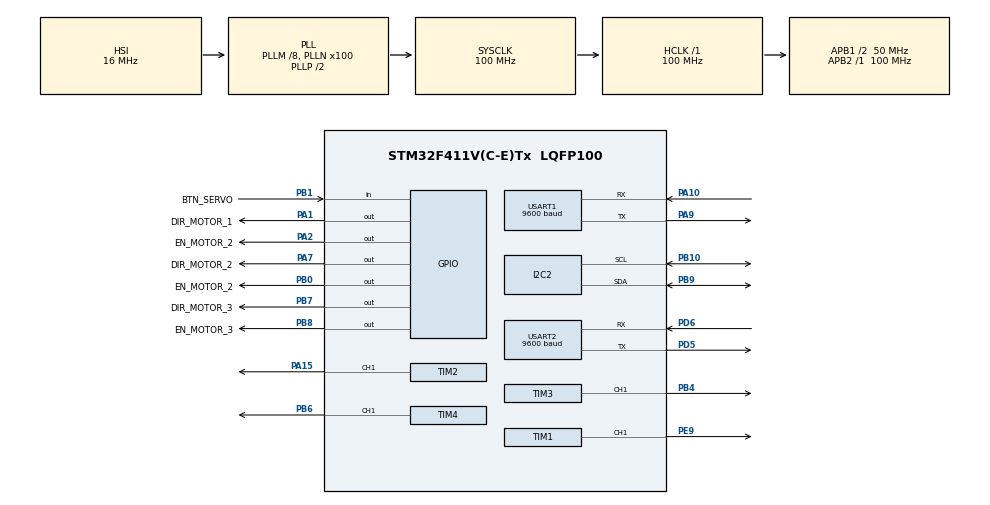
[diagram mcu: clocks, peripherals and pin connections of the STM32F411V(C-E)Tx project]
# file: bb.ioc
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Mcu.Family=STM32F4
Mcu.Name=STM32F411V(C-E)Tx
Mcu.Package=LQFP100
NVIC.PriorityGroup=NVIC_PRIORITYGROUP_4
PA1.GPIO_Label=DIR_MOTOR_1 
PA1.Signal=GPIO_Output
PA10.Mode=Asynchronous
PA10.Signal=USART1_RX
PA13.Mode=Serial_Wire
PA13.Signal=SYS_JTMS-SWDIO
PA14.Mode=Serial_Wire
PA14.Signal=SYS_JTCK-SWCLK
PA15.Signal=S_TIM2_CH1_ETR
PA2.GPIO_Label=EN_MOTOR_2
PA2.GPIO_Speed=GPIO_SPEED_FREQ_HIGH
PA2.Signal=GPIO_Output
PA7.GPIO_Label=DIR_MOTOR_2
PA7.Signal=GPIO_Output
PA9.Mode=Asynchronous
PA9.Signal=USART1_TX
PB0.GPIO_Label=EN_MOTOR_2
PB0.GPIO_Speed=GPIO_SPEED_FREQ_HIGH
PB0.Signal=GPIO_Output
PB1.GPIO_Label=BTN_SERVO
PB1.GPIO_PuPd=GPIO_PULLUP
PB1.Signal=GPIO_Input
PB10.Mode=I2C
PB10.Signal=I2C2_SCL
PB4.Signal=S_TIM3_CH1
PB6.Signal=S_TIM4_CH1
PB7.GPIO_Label=DIR_MOTOR_3
PB7.Signal=GPIO_Output
PB8.GPIO_Label=EN_MOTOR_3
PB8.GPIO_Speed=GPIO_SPEED_FREQ_HIGH
PB8.Signal=GPIO_Output
PB9.Mode=I2C
PB9.Signal=I2C2_SDA
PD5.Mode=Asynchronous
PD5.Signal=USART2_TX
PD6.Mode=Asynchronous
PD6.Signal=USART2_RX
PE5.Signal=S_TIM9_CH1
PE9.Signal=S_TIM1_CH1
ProjectManager.HeapSize=0x200
ProjectManager.StackSize=0x400
ProjectManager.TargetToolchain=STM32CubeIDE
RCC.48MHZClocksFreq_Value=50000000
RCC.AHBFreq_Value=100000000
RCC.APB1CLKDivider=RCC_HCLK_DIV2
RCC.APB1Freq_Value=50000000
RCC.APB1TimFreq_Value=100000000
RCC.APB2Freq_Value=100000000
RCC.APB2TimFreq_Value=100000000
RCC.CortexFreq_Value=100000000
RCC.HCLKFreq_Value=100000000
RCC.HSE_VALUE=25000000
RCC.HSI_VALUE=16000000
RCC.LSE_VALUE=32768
RCC.PLLM=8
RCC.PLLN=100
RCC.SYSCLKFreq_VALUE=100000000
RCC.SYSCLKSource=RCC_SYSCLKSOURCE_PLLCLK
RCC.VCOOutputFreq_Value=200000000
SH.S_TIM1_CH1.0=TIM1_CH1,PWM Generation1 CH1
SH.S_TIM2_CH1_ETR.0=TIM2_CH1,PWM Generation1 CH1
SH.S_TIM3_CH1.0=TIM3_CH1,PWM Generation1 CH1
SH.S_TIM4_CH1.0=TIM4_CH1,PWM Generation1 CH1
SH.S_TIM9_CH1.0=TIM9_CH1
TIM1.Channel-PWM\ Generation1\ CH1=TIM_CHANNEL_1
TIM1.Period=999
TIM1.Prescaler=99
TIM1.Pulse-PWM\ Generation1\ CH1=500
TIM2.Channel-PWM\ Generation1\ CH1=TIM_CHANNEL_1
TIM2.Period=999
TIM2.Prescaler=99
TIM2.Pulse-PWM\ Generation1\ CH1=500
TIM3.Channel-PWM\ Generation1\ CH1=TIM_CHANNEL_1
TIM3.Period=999
TIM3.Prescaler=99
TIM4.Channel-PWM\ Generation1\ CH1=TIM_CHANNEL_1
TIM4.Period=999
TIM4.Prescaler=99
TIM4.Pulse-PWM\ Generation1\ CH1=500
USART1.BaudRate=9600
USART1.VirtualMode=VM_ASYNC
USART2.BaudRate=9600
USART2.VirtualMode=VM_ASYNC
VP_TIM1_VS_ClockSourceINT.Mode=Internal
VP_TIM2_VS_ClockSourceINT.Mode=Internal
VP_TIM3_VS_ClockSourceINT.Mode=Internal
VP_TIM4_VS_ClockSourceINT.Mode=Internal
board=custom

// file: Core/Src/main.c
/* USER CODE BEGIN Header */
/**
  ******************************************************************************
  * @file           : main.c
  * @brief          : Main program body
  ******************************************************************************
  * @attention
  *
  * Copyright (c) 2026 STMicroelectronics.
  * All rights reserved.
  *
  * This software is licensed under terms that can be found in the LICENSE file
  * in the root directory of this software component.
  * If no LICENSE file comes with this software, it is provided AS-IS.
  *
  ******************************************************************************
  */
/* USER CODE END Header */
#include "main.h"

/* USER CODE BEGIN Includes */
#include "stdio.h"    /* ← thêm: fix lỗi sscanf */
#include "stdlib.h"
#include "math.h"
#include "string.h"
/* USER CODE END Includes */

/* USER CODE BEGIN PD */
typedef struct {
    float Kp, Ki, Kd;
    float integral;
    float prev_error;
    float integral_limit;  // chống integral windup
    float output_limit;    // giới hạn output tối đa
} PID_t;

// Kalman Test
typedef struct {
    float kalmanExtrapolate;
	  float kalmanEstimation;
	  float kalmanUncertainty_currFlex;
	  float kalmanUncertainty_exFlex;
} KalmanParam;
KalmanParam angle1;
KalmanParam angle2;
KalmanParam angle3;

PID_t pid1 = {
    .Kp = 500.0f,    // Tăng để phản ứng nhanh hơn
    .Ki = 15.0f,      // Nhỏ thôi, tránh dao động
    .Kd = 100.0f,     // Hãm phanh khi gần đích
    .integral = 0,
    .prev_error = 0,
    .integral_limit = 300.0f,
    .output_limit = 25000.0f
};

PID_t pid2 = {
//    .Kp = 800.0f,
//    .Ki = 50.0f,
//    .Kd = 50.0f,
	.Kp = 800.0f,
    .Ki = 50.0f,
    .Kd = 55.0f,
    .integral = 0,
    .prev_error = 0,
    .integral_limit = 3000.0f,
    .output_limit = 90000.0f
};

PID_t pid3 = {
		//    .Kp = 400.0f,
		//    .Ki = 3.0f,
		//    .Kd = 30.0f,
    .Kp = 400.0f,
    .Ki = 3.0f,
    .Kd = 35.0f,
    .integral = 0,
    .prev_error = 0,
    .integral_limit = 100.0f,
    .output_limit = 25000.0f
};
#define TCA9548A_ADDR     (0x70 << 1)
#define AS5600_ADDR       (0x36 << 1)
#define AS5600_RAW_ANGLE_REG  0x0C

#define MUX_CH_J1   0
#define MUX_CH_J2   1
#define MUX_CH_J3   2
#define GEAR_RATIO_J1   9.375f
#define GEAR_RATIO_J2   9.375f
#define ANGLE_MAX_J3  300.0f
#define HOOK_OPEN    180.0f
#define HOOK_CLOSE   0.0f

#define L0  108.0f   // ← THÊM
#define L1  220.0f   // ← THÊM
#define L2  235.0f   // ← THÊM
#define J2_ZERO_OFFSET   5.0f
#define VEL_PROFILE_J1  60.0f   // J1: 60°/s
#define VEL_PROFILE_J2  60.0f   // J2: 60°/s
#define VEL_PROFILE_J3  30.0f   // J3: chậm hơn, motor yếu
#define LOOP_DT         0.05f
#define PROCESS_NOISE   0.20f
#define MEAS_UNCERTAINTY (2.0 * 2.0)
/* USER CODE END PD */

I2C_HandleTypeDef hi2c2;

TIM_HandleTypeDef htim1;
TIM_HandleTypeDef htim2;
TIM_HandleTypeDef htim3;
TIM_HandleTypeDef htim4;

UART_HandleTypeDef huart1;
UART_HandleTypeDef huart2;

/* USER CODE BEGIN PV */
//volatile float servo_target_angle = 90.0f;
volatile uint16_t debug_as5600_raw1 = 0;
volatile uint16_t debug_as5600_raw2 = 0;
volatile uint16_t debug_as5600_raw3 = 0;
volatile uint8_t  debug_as5600_status1 = 0;
volatile uint8_t  debug_as5600_status2 = 0;
volatile uint8_t  debug_as5600_status3 = 0;
float as5600_zero_offset1 = 0.0f;
float as5600_zero_offset2 = 0.0f;
float as5600_zero_offset3 = 0.0f;
uint8_t as5600_invert1 = 0; // 1 nếu chiều quay ngược so với chiều bạn cần
uint8_t as5600_invert2 = 0;
uint8_t as5600_invert3 = 0;

volatile uint8_t home_button_pressed = 0;
volatile uint8_t home_done = 0;              // 0 = chưa home, 1 = đã home
volatile uint8_t control_enabled = 0;        // 0 = không nhận data, 1 = nhận data
volatile uint8_t home_requested = 0;         // 0 = không cần home, 1 = yêu cầu home

volatile float home_angle1 = 38.7f;          // Home position J1
volatile float home_angle2 = 47.5f;          // Home position J2
volatile float home_angle3 = 147.5f;         // Home position J3

#define HOMING_TIMEOUT_MS 30000
float target_smooth1 = 0.0f;  // ← THÊM
float target_smooth2 = 0.0f;  // ← THÊM
float target_smooth3 = 0.0f;  // ← THÊM
float filtered_j1 = 0.0f;     // ← THÊM
float filtered_j2 = 0.0f;     // ← THÊM
float filtered_j3 = 0.0f;     // ← THÊM
uint8_t uart2_rx_byte;
uint8_t uart2_buf[32];
uint8_t uart2_index = 0;
uint8_t uart6_rx_byte;
uint8_t uart6_buf[32];
uint8_t uart6_index = 0;
volatile uint8_t uart_mode = 1;
volatile float watch_joint1_real = 0.0f;  // góc thực J1 sau gear ratio
volatile float watch_joint2_real = 0.0f;
volatile float watch_joint3_real = 0.0f;
volatile float watch_angle1 = 0.0f;
volatile float watch_angle2 = 0.0f;
volatile int32_t debug_err1 = 0;
volatile uint8_t debug_dir1 = 0;
volatile int32_t debug_err3 = 0;
volatile uint8_t debug_dir3 = 0;
volatile int32_t debug_err2 = 0;
volatile uint8_t debug_dir2 = 0;
volatile uint8_t btn_servo_last = 1;
volatile uint8_t servo_open     = 0;
volatile uint32_t uart_irq_count = 0;
uint8_t uart_rx_byte;
uint8_t uart_buf[32];
uint8_t uart_index = 0;

volatile float uart_angle1 = 0;
volatile float uart_angle2 = 0;
volatile float uart_angle3 = 0;
volatile uint8_t uart_data_ready = 0;
volatile uint8_t button_val = 0;
  // 0=bình thường, 1=về home
volatile uint8_t is_homing = 0;       // 0=không homing, 1=đang homing
#define  FILTER_SIZE 8   // Lấy trung bình 8 mẫu

volatile float angle_current1 = 0;
volatile float angle_current2 = 0;
volatile float angle_current3 = 0;
volatile int32_t pos1 = 0, pos2 = 0, pos3 = 0;

#define STEPS_PER_REV   1600
#define MAX_SPEED        8000
#define MIN_SPEED        50
#define ACCEL_STEP       200
volatile uint8_t hook_state = 0;  // 0=đóng, 1=mở
typedef struct { float x, y, z; } Position3D_t;
volatile Position3D_t tool_pos = {0, 0, 0};
typedef struct {
    int32_t  target_speed;
    int32_t  current_speed;
    uint8_t  direction;
		int32_t  max_speed;    // ← Thêm
    int32_t  accel_step;   // ← Thêm
} MotorState_t;

MotorState_t state1 = {0, 0, 0, 1000, 50};
MotorState_t state2 = {0, 0, 0, 1000, 50};
MotorState_t state3 = {0, 0, 0, 3000 , 50 };
typedef struct {
    TIM_HandleTypeDef *htim;
    uint32_t channel;
    GPIO_TypeDef *dir_port;
    uint16_t dir_pin;
    GPIO_TypeDef *en_port;
    uint16_t en_pin;
    uint16_t current_speed;
    uint8_t direction;
} StepperMotor_t;

StepperMotor_t motor1 = {
    .htim = &htim4,
    .channel = TIM_CHANNEL_1,
    .dir_port = GPIOA,
    .dir_pin = GPIO_PIN_1,
    .en_port = GPIOA,
    .en_pin = GPIO_PIN_2,
    .current_speed = 0,
    .direction = 0
};
StepperMotor_t motor2 = {
    .htim = &htim3,
    .channel = TIM_CHANNEL_1,
    .dir_port = GPIOA,
    .dir_pin = GPIO_PIN_7,
    .en_port = GPIOB,
    .en_pin = GPIO_PIN_0,
    .current_speed = 0,
    .direction = 0
};
StepperMotor_t motor3 = {
    .htim = &htim1,
    .channel = TIM_CHANNEL_1,
    .dir_port = GPIOB,
    .dir_pin = GPIO_PIN_7,
    .en_port = GPIOB,
    .en_pin = GPIO_PIN_8,
    .current_speed = 0,
    .direction = 0
};
/* USER CODE END PV */

void SystemClock_Config(void);
static void MX_GPIO_Init(void);
static void MX_TIM1_Init(void);
static void MX_TIM2_Init(void);
static void MX_TIM3_Init(void);
static void MX_USART1_UART_Init(void);
static void MX_TIM4_Init(void);
static void MX_USART2_UART_Init(void);
static void MX_I2C2_Init(void);
/* USER CODE BEGIN PFP */
void Slave_Feedback_Read(void);
HAL_StatusTypeDef kp(uint8_t channel);
HAL_StatusTypeDef AS5600_ReadRawAngle(uint16_t *raw_angle);
float AS5600_ReadAngleDeg(uint8_t mux_channel, float zero_offset, uint8_t invert, volatile uint16_t *out_raw, volatile uint8_t *out_status);
//void Servo_TIM9_SetAngle(float angle);  // ← THÊM
void Button_Servo_Handle(void);
void Servo_DebugControl(void);// ← THÊM
void Parse_UART_Data(char *buf);
void Go_Home(void);
uint8_t Is_At_Home(void);
void Process_ADC_Data(void);
void ADC_Filter_Update(void);
void Motor_MoveToAngle(StepperMotor_t *motor, MotorState_t *state, volatile int32_t *pos, float target_angle);
void Motor_Init(StepperMotor_t *motor);
void Motor_SetSpeed(StepperMotor_t *motor, uint16_t speed);
void Motor_SetDirection(StepperMotor_t *motor, uint8_t dir);
void Motor_Enable(StepperMotor_t *motor);
void Motor_Disable(StepperMotor_t *motor);
//float ADC_ToAngle(uint16_t adc_val);
void Motor_SetSpeedSmooth(StepperMotor_t *motor, MotorState_t *state, int32_t target_steps_per_sec);
void Servo_SetAngle(float angle);
void Hook_Control(uint8_t state);
Position3D_t Forward_Kinematics(float t1, float t2, float t3); // ← THÊM
/* USER CODE END PFP */

int main(void)
{

  /* MCU Configuration--------------------------------------------------------*/

  /* Reset of all peripherals, Initializes the Flash interface and the Systick. */
  HAL_Init();

  /* Configure the system clock */
  SystemClock_Config();

  /* Initialize all configured peripherals */
  MX_GPIO_Init();
  MX_TIM1_Init();
  MX_TIM2_Init();
  MX_TIM3_Init();
  MX_USART1_UART_Init();
  MX_TIM4_Init();
  MX_USART2_UART_Init();
  MX_I2C2_Init();
  /* USER CODE BEGIN 2 */

	__HAL_RCC_GPIOD_CLK_ENABLE();
GPIOD->MODER |= (1 << 26);
GPIOD->MODER |= (1 << 24);
pos1 = 0; pos2 = 0; pos3 = 0;

HAL_GPIO_WritePin(GPIOB, GPIO_PIN_8, GPIO_PIN_SET);
HAL_GPIO_WritePin(GPIOB, GPIO_PIN_0, GPIO_PIN_SET);
HAL_GPIO_WritePin(GPIOA, GPIO_PIN_2, GPIO_PIN_SET);

// Không start TIM motor ở đây — Motor_Init tự lo
Motor_Init(&motor1);   // TIM4 CH1 → PB6
Motor_Init(&motor2);   // TIM3 CH1 → PB4
Motor_Init(&motor3);   // TIM1 CH1 → PE9

// Servo TIM9 start riêng
//HAL_TIM_PWM_Start(&htim9, TIM_CHANNEL_1);
//Servo_TIM9_SetAngle(0.0f);

HAL_UART_Receive_IT(&huart1, &uart_rx_byte, 1);
HAL_UART_Receive_IT(&huart2, &uart2_rx_byte, 1);  // ← đổi uart_rx_byte → uart2_rx_byte

  /* USER CODE END 2 */

  /* Infinite loop */
  /* USER CODE BEGIN WHILE */
	button_val = HAL_GPIO_ReadPin(GPIOA, GPIO_PIN_0);
  while (1)
  {
//		Servo_DebugControl();
//		Servo_TIM9_SetAngle(servo_target_angle);
    /* USER CODE END WHILE */

    /* USER CODE BEGIN 3 */
		if(HAL_GPIO_ReadPin(GPIOB, GPIO_PIN_1) == GPIO_PIN_RESET)
{
    HAL_GPIO_WritePin(GPIOD, GPIO_PIN_12, GPIO_PIN_SET);  // LED sáng khi nhấn
}
else
{
    HAL_GPIO_WritePin(GPIOD, GPIO_PIN_12, GPIO_PIN_RESET); // LED tắt khi nhả
}
		 GPIOD->ODR ^= (1 << 13);
    // Đọc nút HOME
    uint8_t btn_home_now = HAL_GPIO_ReadPin(GPIOA, GPIO_PIN_0);
    if(home_button_pressed == 0 && btn_home_now == GPIO_PIN_RESET)
    {
        HAL_Delay(20);
        if(HAL_GPIO_ReadPin(GPIOA, GPIO_PIN_0) == GPIO_PIN_RESET)
        {
            home_button_pressed = 1;
        uart_mode = !uart_mode;
        if(uart_mode == 0)
            home_requested = 1;  // ← HOME mode
        else
            home_requested = 0; // ← Toggle uart_mode: 0↔1
        }
    }
    if(btn_home_now == GPIO_PIN_SET)
    {
        home_button_pressed = 0;  // ← Reset khi nhả nút
    }
 //Button_Servo_Handle();

  Slave_Feedback_Read();   // ← ra ngoài, luôn chạy
HAL_Delay(50);

if(uart_mode == 0)  // ← HOME mode
{
    Go_Home();
}
else  // ← MASTER-SLAVE mode (uart_mode = 1)
{
    Process_ADC_Data();
  //  Hook_Control(hook_state);
}
//    Motor_Enable(&motor1);
//    Motor_Enable(&motor2);
//
//    Motor_SetDirection(&motor1, 0);
//    Motor_SetDirection(&motor2, 0);
//
//    Motor_SetSpeedSmooth(&motor1, &state1, 2000);
//    Motor_SetSpeedSmooth(&motor2, &state2, 2000);
//
//    HAL_Delay(50);
}

  /* USER CODE END 3 */
}

void SystemClock_Config(void)
{
  RCC_OscInitTypeDef RCC_OscInitStruct = {0};
  RCC_ClkInitTypeDef RCC_ClkInitStruct = {0};

  /** Configure the main internal regulator output voltage
  */
  __HAL_RCC_PWR_CLK_ENABLE();
  __HAL_PWR_VOLTAGESCALING_CONFIG(PWR_REGULATOR_VOLTAGE_SCALE1);

  /** Initializes the RCC Oscillators according to the specified parameters
  * in the RCC_OscInitTypeDef structure.
  */
  RCC_OscInitStruct.OscillatorType = RCC_OSCILLATORTYPE_HSI;
  RCC_OscInitStruct.HSIState = RCC_HSI_ON;
  RCC_OscInitStruct.HSICalibrationValue = RCC_HSICALIBRATION_DEFAULT;
  RCC_OscInitStruct.PLL.PLLState = RCC_PLL_ON;
  RCC_OscInitStruct.PLL.PLLSource = RCC_PLLSOURCE_HSI;
  RCC_OscInitStruct.PLL.PLLM = 8;
  RCC_OscInitStruct.PLL.PLLN = 100;
  RCC_OscInitStruct.PLL.PLLP = RCC_PLLP_DIV2;
  RCC_OscInitStruct.PLL.PLLQ = 4;
  if (HAL_RCC_OscConfig(&RCC_OscInitStruct) != HAL_OK)
  {
    Error_Handler();
  }

  /** Initializes the CPU, AHB and APB buses clocks
  */
  RCC_ClkInitStruct.ClockType = RCC_CLOCKTYPE_HCLK|RCC_CLOCKTYPE_SYSCLK
                              |RCC_CLOCKTYPE_PCLK1|RCC_CLOCKTYPE_PCLK2;
  RCC_ClkInitStruct.SYSCLKSource = RCC_SYSCLKSOURCE_PLLCLK;
  RCC_ClkInitStruct.AHBCLKDivider = RCC_SYSCLK_DIV1;
  RCC_ClkInitStruct.APB1CLKDivider = RCC_HCLK_DIV2;
  RCC_ClkInitStruct.APB2CLKDivider = RCC_HCLK_DIV1;

  if (HAL_RCC_ClockConfig(&RCC_ClkInitStruct, FLASH_LATENCY_3) != HAL_OK)
  {
    Error_Handler();
  }
}

static void MX_I2C2_Init(void)
{

  hi2c2.Instance = I2C2;
  hi2c2.Init.ClockSpeed = 100000;
  hi2c2.Init.DutyCycle = I2C_DUTYCYCLE_2;
  hi2c2.Init.OwnAddress1 = 0;
  hi2c2.Init.AddressingMode = I2C_ADDRESSINGMODE_7BIT;
  hi2c2.Init.DualAddressMode = I2C_DUALADDRESS_DISABLE;
  hi2c2.Init.OwnAddress2 = 0;
  hi2c2.Init.GeneralCallMode = I2C_GENERALCALL_DISABLE;
  hi2c2.Init.NoStretchMode = I2C_NOSTRETCH_DISABLE;
  if (HAL_I2C_Init(&hi2c2) != HAL_OK)
  {
    Error_Handler();
  }

}

static void MX_TIM1_Init(void)
{

  TIM_ClockConfigTypeDef sClockSourceConfig = {0};
  TIM_MasterConfigTypeDef sMasterConfig = {0};
  TIM_OC_InitTypeDef sConfigOC = {0};
  TIM_BreakDeadTimeConfigTypeDef sBreakDeadTimeConfig = {0};

  htim1.Instance = TIM1;
  htim1.Init.Prescaler = 99;
  htim1.Init.CounterMode = TIM_COUNTERMODE_UP;
  htim1.Init.Period = 999;
  htim1.Init.ClockDivision = TIM_CLOCKDIVISION_DIV1;
  htim1.Init.RepetitionCounter = 0;
  htim1.Init.AutoReloadPreload = TIM_AUTORELOAD_PRELOAD_DISABLE;
  if (HAL_TIM_Base_Init(&htim1) != HAL_OK)
  {
    Error_Handler();
  }
  sClockSourceConfig.ClockSource = TIM_CLOCKSOURCE_INTERNAL;
  if (HAL_TIM_ConfigClockSource(&htim1, &sClockSourceConfig) != HAL_OK)
  {
    Error_Handler();
  }
  if (HAL_TIM_PWM_Init(&htim1) != HAL_OK)
  {
    Error_Handler();
  }
  sMasterConfig.MasterOutputTrigger = TIM_TRGO_RESET;
  sMasterConfig.MasterSlaveMode = TIM_MASTERSLAVEMODE_DISABLE;
  if (HAL_TIMEx_MasterConfigSynchronization(&htim1, &sMasterConfig) != HAL_OK)
  {
    Error_Handler();
  }
  sConfigOC.OCMode = TIM_OCMODE_PWM1;
  sConfigOC.Pulse = 500;
  sConfigOC.OCPolarity = TIM_OCPOLARITY_HIGH;
  sConfigOC.OCNPolarity = TIM_OCNPOLARITY_HIGH;
  sConfigOC.OCFastMode = TIM_OCFAST_DISABLE;
  sConfigOC.OCIdleState = TIM_OCIDLESTATE_RESET;
  sConfigOC.OCNIdleState = TIM_OCNIDLESTATE_RESET;
  if (HAL_TIM_PWM_ConfigChannel(&htim1, &sConfigOC, TIM_CHANNEL_1) != HAL_OK)
  {
    Error_Handler();
  }
  sBreakDeadTimeConfig.OffStateRunMode = TIM_OSSR_DISABLE;
  sBreakDeadTimeConfig.OffStateIDLEMode = TIM_OSSI_DISABLE;
  sBreakDeadTimeConfig.LockLevel = TIM_LOCKLEVEL_OFF;
  sBreakDeadTimeConfig.DeadTime = 0;
  sBreakDeadTimeConfig.BreakState = TIM_BREAK_DISABLE;
  sBreakDeadTimeConfig.BreakPolarity = TIM_BREAKPOLARITY_HIGH;
  sBreakDeadTimeConfig.AutomaticOutput = TIM_AUTOMATICOUTPUT_DISABLE;
  if (HAL_TIMEx_ConfigBreakDeadTime(&htim1, &sBreakDeadTimeConfig) != HAL_OK)
  {
    Error_Handler();
  }
  /* USER CODE BEGIN TIM1_Init 2 */
sConfigOC.OCMode = TIM_OCMODE_PWM1;
sConfigOC.Pulse = 50;
sConfigOC.OCPolarity = TIM_OCPOLARITY_HIGH;
sConfigOC.OCNPolarity = TIM_OCNPOLARITY_HIGH;
sConfigOC.OCFastMode = TIM_OCFAST_DISABLE;
sConfigOC.OCIdleState = TIM_OCIDLESTATE_RESET;
sConfigOC.OCNIdleState = TIM_OCNIDLESTATE_RESET;
if (HAL_TIM_PWM_ConfigChannel(&htim1, &sConfigOC, TIM_CHANNEL_3) != HAL_OK)
{
    Error_Handler();
}
  /* USER CODE END TIM1_Init 2 */
  HAL_TIM_MspPostInit(&htim1);

}

static void MX_TIM2_Init(void)
{

  TIM_ClockConfigTypeDef sClockSourceConfig = {0};
  TIM_MasterConfigTypeDef sMasterConfig = {0};
  TIM_OC_InitTypeDef sConfigOC = {0};

  htim2.Instance = TIM2;
  htim2.Init.Prescaler = 99;
  htim2.Init.CounterMode = TIM_COUNTERMODE_UP;
  htim2.Init.Period = 999;
  htim2.Init.ClockDivision = TIM_CLOCKDIVISION_DIV1;
  htim2.Init.AutoReloadPreload = TIM_AUTORELOAD_PRELOAD_DISABLE;
  if (HAL_TIM_Base_Init(&htim2) != HAL_OK)
  {
    Error_Handler();
  }
  sClockSourceConfig.ClockSource = TIM_CLOCKSOURCE_INTERNAL;
  if (HAL_TIM_ConfigClockSource(&htim2, &sClockSourceConfig) != HAL_OK)
  {
    Error_Handler();
  }
  if (HAL_TIM_PWM_Init(&htim2) != HAL_OK)
  {
    Error_Handler();
  }
  sMasterConfig.MasterOutputTrigger = TIM_TRGO_RESET;
  sMasterConfig.MasterSlaveMode = TIM_MASTERSLAVEMODE_DISABLE;
  if (HAL_TIMEx_MasterConfigSynchronization(&htim2, &sMasterConfig) != HAL_OK)
  {
    Error_Handler();
  }
  sConfigOC.OCMode = TIM_OCMODE_PWM1;
  sConfigOC.Pulse = 500;
  sConfigOC.OCPolarity = TIM_OCPOLARITY_HIGH;
  sConfigOC.OCFastMode = TIM_OCFAST_DISABLE;
  if (HAL_TIM_PWM_ConfigChannel(&htim2, &sConfigOC, TIM_CHANNEL_1) != HAL_OK)
  {
    Error_Handler();
  }
  HAL_TIM_MspPostInit(&htim2);

}

static void MX_TIM3_Init(void)
{

  TIM_ClockConfigTypeDef sClockSourceConfig = {0};
  TIM_MasterConfigTypeDef sMasterConfig = {0};
  TIM_OC_InitTypeDef sConfigOC = {0};

  htim3.Instance = TIM3;
  htim3.Init.Prescaler = 99;
  htim3.Init.CounterMode = TIM_COUNTERMODE_UP;
  htim3.Init.Period = 999;
  htim3.Init.ClockDivision = TIM_CLOCKDIVISION_DIV1;
  htim3.Init.AutoReloadPreload = TIM_AUTORELOAD_PRELOAD_DISABLE;
  if (HAL_TIM_Base_Init(&htim3) != HAL_OK)
  {
    Error_Handler();
  }
  sClockSourceConfig.ClockSource = TIM_CLOCKSOURCE_INTERNAL;
  if (HAL_TIM_ConfigClockSource(&htim3, &sClockSourceConfig) != HAL_OK)
  {
    Error_Handler();
  }
  if (HAL_TIM_PWM_Init(&htim3) != HAL_OK)
  {
    Error_Handler();
  }
  sMasterConfig.MasterOutputTrigger = TIM_TRGO_RESET;
  sMasterConfig.MasterSlaveMode = TIM_MASTERSLAVEMODE_DISABLE;
  if (HAL_TIMEx_MasterConfigSynchronization(&htim3, &sMasterConfig) != HAL_OK)
  {
    Error_Handler();
  }
  sConfigOC.OCMode = TIM_OCMODE_PWM1;
  sConfigOC.Pulse = 0;
  sConfigOC.OCPolarity = TIM_OCPOLARITY_HIGH;
  sConfigOC.OCFastMode = TIM_OCFAST_DISABLE;
  if (HAL_TIM_PWM_ConfigChannel(&htim3, &sConfigOC, TIM_CHANNEL_1) != HAL_OK)
  {
    Error_Handler();
  }
  HAL_TIM_MspPostInit(&htim3);

}

static void MX_TIM4_Init(void)
{

  TIM_ClockConfigTypeDef sClockSourceConfig = {0};
  TIM_MasterConfigTypeDef sMasterConfig = {0};
  TIM_OC_InitTypeDef sConfigOC = {0};

  htim4.Instance = TIM4;
  htim4.Init.Prescaler = 99;
  htim4.Init.CounterMode = TIM_COUNTERMODE_UP;
  htim4.Init.Period = 999;
  htim4.Init.ClockDivision = TIM_CLOCKDIVISION_DIV1;
  htim4.Init.AutoReloadPreload = TIM_AUTORELOAD_PRELOAD_DISABLE;
  if (HAL_TIM_Base_Init(&htim4) != HAL_OK)
  {
    Error_Handler();
  }
  sClockSourceConfig.ClockSource = TIM_CLOCKSOURCE_INTERNAL;
  if (HAL_TIM_ConfigClockSource(&htim4, &sClockSourceConfig) != HAL_OK)
  {
    Error_Handler();
  }
  if (HAL_TIM_PWM_Init(&htim4) != HAL_OK)
  {
    Error_Handler();
  }
  sMasterConfig.MasterOutputTrigger = TIM_TRGO_RESET;
  sMasterConfig.MasterSlaveMode = TIM_MASTERSLAVEMODE_DISABLE;
  if (HAL_TIMEx_MasterConfigSynchronization(&htim4, &sMasterConfig) != HAL_OK)
  {
    Error_Handler();
  }
  sConfigOC.OCMode = TIM_OCMODE_PWM1;
  sConfigOC.Pulse = 500;
  sConfigOC.OCPolarity = TIM_OCPOLARITY_HIGH;
  sConfigOC.OCFastMode = TIM_OCFAST_DISABLE;
  if (HAL_TIM_PWM_ConfigChannel(&htim4, &sConfigOC, TIM_CHANNEL_1) != HAL_OK)
  {
    Error_Handler();
  }
  HAL_TIM_MspPostInit(&htim4);

}

static void MX_USART1_UART_Init(void)
{

  huart1.Instance = USART1;
  huart1.Init.BaudRate = 9600;
  huart1.Init.WordLength = UART_WORDLENGTH_8B;
  huart1.Init.StopBits = UART_STOPBITS_1;
  huart1.Init.Parity = UART_PARITY_NONE;
  huart1.Init.Mode = UART_MODE_TX_RX;
  huart1.Init.HwFlowCtl = UART_HWCONTROL_NONE;
  huart1.Init.OverSampling = UART_OVERSAMPLING_16;
  if (HAL_UART_Init(&huart1) != HAL_OK)
  {
    Error_Handler();
  }
  /* USER CODE BEGIN USART1_Init 2 */
HAL_NVIC_SetPriority(USART1_IRQn, 1, 0);
HAL_NVIC_EnableIRQ(USART1_IRQn);
  /* USER CODE END USART1_Init 2 */

}

static void MX_USART2_UART_Init(void)
{

  huart2.Instance = USART2;
  huart2.Init.BaudRate = 9600;
  huart2.Init.WordLength = UART_WORDLENGTH_8B;
  huart2.Init.StopBits = UART_STOPBITS_1;
  huart2.Init.Parity = UART_PARITY_NONE;
  huart2.Init.Mode = UART_MODE_TX_RX;
  huart2.Init.HwFlowCtl = UART_HWCONTROL_NONE;
  huart2.Init.OverSampling = UART_OVERSAMPLING_16;
  if (HAL_UART_Init(&huart2) != HAL_OK)
  {
    Error_Handler();
  }
  /* USER CODE BEGIN USART2_Init 2 */
HAL_NVIC_SetPriority(USART2_IRQn, 1, 0);  // ← THÊM
HAL_NVIC_EnableIRQ(USART2_IRQn);
  /* USER CODE END USART2_Init 2 */

}

static void MX_GPIO_Init(void)
{
  GPIO_InitTypeDef GPIO_InitStruct = {0};

  /* GPIO Ports Clock Enable */
  __HAL_RCC_GPIOE_CLK_ENABLE();
  __HAL_RCC_GPIOA_CLK_ENABLE();
  __HAL_RCC_GPIOB_CLK_ENABLE();
  __HAL_RCC_GPIOD_CLK_ENABLE();

  /*Configure GPIO pin Output Level */
  HAL_GPIO_WritePin(GPIOA, DIR_MOTOR_1_Pin|EN_MOTOR_2_Pin|DIR_MOTOR_2_Pin, GPIO_PIN_RESET);

  /*Configure GPIO pin Output Level */
  HAL_GPIO_WritePin(GPIOB, EN_MOTOR_2B0_Pin|DIR_MOTOR_3_Pin|EN_MOTOR_3_Pin, GPIO_PIN_RESET);

  /*Configure GPIO pin : PE5 */
  GPIO_InitStruct.Pin = GPIO_PIN_5;
  GPIO_InitStruct.Mode = GPIO_MODE_AF_PP;
  GPIO_InitStruct.Pull = GPIO_NOPULL;
  GPIO_InitStruct.Speed = GPIO_SPEED_FREQ_LOW;
  GPIO_InitStruct.Alternate = GPIO_AF3_TIM9;
  HAL_GPIO_Init(GPIOE, &GPIO_InitStruct);

  /*Configure GPIO pins : DIR_MOTOR_1_Pin DIR_MOTOR_2_Pin */
  GPIO_InitStruct.Pin = DIR_MOTOR_1_Pin|DIR_MOTOR_2_Pin;
  GPIO_InitStruct.Mode = GPIO_MODE_OUTPUT_PP;
  GPIO_InitStruct.Pull = GPIO_NOPULL;
  GPIO_InitStruct.Speed = GPIO_SPEED_FREQ_LOW;
  HAL_GPIO_Init(GPIOA, &GPIO_InitStruct);

  /*Configure GPIO pin : EN_MOTOR_2_Pin */
  GPIO_InitStruct.Pin = EN_MOTOR_2_Pin;
  GPIO_InitStruct.Mode = GPIO_MODE_OUTPUT_PP;
  GPIO_InitStruct.Pull = GPIO_NOPULL;
  GPIO_InitStruct.Speed = GPIO_SPEED_FREQ_HIGH;
  HAL_GPIO_Init(EN_MOTOR_2_GPIO_Port, &GPIO_InitStruct);

  /*Configure GPIO pins : EN_MOTOR_2B0_Pin EN_MOTOR_3_Pin */
  GPIO_InitStruct.Pin = EN_MOTOR_2B0_Pin|EN_MOTOR_3_Pin;
  GPIO_InitStruct.Mode = GPIO_MODE_OUTPUT_PP;
  GPIO_InitStruct.Pull = GPIO_NOPULL;
  GPIO_InitStruct.Speed = GPIO_SPEED_FREQ_HIGH;
  HAL_GPIO_Init(GPIOB, &GPIO_InitStruct);

  /*Configure GPIO pin : BTN_SERVO_Pin */
  GPIO_InitStruct.Pin = BTN_SERVO_Pin;
  GPIO_InitStruct.Mode = GPIO_MODE_INPUT;
  GPIO_InitStruct.Pull = GPIO_PULLUP;
  HAL_GPIO_Init(BTN_SERVO_GPIO_Port, &GPIO_InitStruct);

  /*Configure GPIO pin : DIR_MOTOR_3_Pin */
  GPIO_InitStruct.Pin = DIR_MOTOR_3_Pin;
  GPIO_InitStruct.Mode = GPIO_MODE_OUTPUT_PP;
  GPIO_InitStruct.Pull = GPIO_NOPULL;
  GPIO_InitStruct.Speed = GPIO_SPEED_FREQ_LOW;
  HAL_GPIO_Init(DIR_MOTOR_3_GPIO_Port, &GPIO_InitStruct);

  /* USER CODE BEGIN MX_GPIO_Init_2 */
	GPIO_InitTypeDef GPIO_InitStruct3 = {0};
GPIO_InitStruct3.Pin = GPIO_PIN_0;
GPIO_InitStruct3.Mode = GPIO_MODE_INPUT;
GPIO_InitStruct3.Pull = GPIO_PULLUP;
HAL_GPIO_Init(GPIOA, &GPIO_InitStruct3);

  /* USER CODE END MX_GPIO_Init_2 */
}

/* USER CODE BEGIN 4 */
float PID_Compute(PID_t *pid, float error)
{
    // ---- P term ----
    float P_term = pid->Kp * error;

    // ---- I term (với anti-windup: chỉ tích khi chưa bão hòa) ----
    pid->integral += error;
    // Giới hạn integral để tránh "windup" — tích quá lớn gây overshoot
    if(pid->integral >  pid->integral_limit) pid->integral =  pid->integral_limit;
    if(pid->integral < -pid->integral_limit) pid->integral = -pid->integral_limit;
    float I_term = pid->Ki * pid->integral;

    // ---- D term ----
    // delta_error âm = sai số đang giảm = robot đang tiến đến đích
    // D_term âm sẽ làm giảm output → phanh lại
    float delta_error = error - pid->prev_error;
    float D_term = pid->Kd * delta_error/0.05;
    pid->prev_error = error;

    // ---- Tổng output ----
    float output = P_term + I_term*0 + D_term;

    // Giới hạn output (steps/s tối đa của motor)
    if(output >  pid->output_limit) output =  pid->output_limit;
    if(output < -pid->output_limit) output = -pid->output_limit;

    return output;
}

/**
 * @brief Reset PID về 0 (dùng khi đến đích hoặc sau homing)
 */
void PID_Reset(PID_t *pid)
{
    pid->integral   = 0;
    pid->prev_error = 0;
}

//void Servo_TIM9_SetAngle(float angle)
//{
// //   if(servo_target_angle < 0.0f) servo_target_angle = 0.0f;
// //   if(servo_target_angle > 180.0f) servo_target_angle = 180.0f;
//	 // Tính pulse: 0° = 1000µs, 180° = 2000µs
//    uint32_t pulse = (uint32_t)(600  + (angle / 180.0f) * 2600);
//
//    // Ghi vào TIM5 Channel 1
//    __HAL_TIM_SET_COMPARE(&htim9, TIM_CHANNEL_1, pulse);
//}

void Parse_UART_Data(char *buf)
{
		if(buf == NULL || buf[0] == '\0') return;
		if(uart_mode == 0) return;
    // ← THÊM: check lệnh đổi mode trước
    if(strncmp(buf, "MODE:APP", 8) == 0) {
        uart_mode = 0;
        return;
    }
    if(strncmp(buf, "MODE:ARM", 8) == 0) {
        uart_mode = 1;
        return;
    }

    // giữ nguyên phần cũ
    float a1, a2, a3;
    if(sscanf(buf, "$%f,%f,%f", &a1, &a2, &a3) == 3)
    {
        uart_angle1 = a1;
        uart_angle2 = a2;
        uart_angle3 = a3;
        uart_data_ready = 1;
    }
}

void HAL_UART_RxCpltCallback(UART_HandleTypeDef *huart)
{
   if(huart->Instance == USART1)
    {
        uart_irq_count++;
				uint32_t now = HAL_GetTick();  // ← THÊM DÒNG NÀY
        static uint32_t last_update_time = 0;
    if(uart_rx_byte == '\n') {
        uart_buf[uart_index] = '\0';

        last_update_time = now;
        // ← SỬA: MODE commands luôn được parse
        if(uart_mode == 1 || strncmp((char*)uart_buf, "MODE:", 5) == 0)
            Parse_UART_Data((char*)uart_buf);
        uart_index = 0;
    } else {
        if(uart_index < 31)
            uart_buf[uart_index++] = uart_rx_byte;
    }
    HAL_UART_Receive_IT(&huart1, &uart_rx_byte, 1);
    }
    else if(huart->Instance == USART2)                  // ← THÊM block mới
    {
        uart_irq_count++;
    if(uart2_rx_byte == '\n') {
        uart2_buf[uart2_index] = '\0';
        if(uart_mode == 0 || strncmp((char*)uart2_buf, "MODE:", 5) == 0)
            Parse_UART_Data((char*)uart2_buf);
        uart2_index = 0;
    } else {
        if(uart2_index < 31)
            uart2_buf[uart2_index++] = uart2_rx_byte;
    }
    HAL_UART_Receive_IT(&huart2, &uart2_rx_byte, 1);;
    }

}
uint8_t Is_At_Home(void)
{
    // Kiểm tra cả 3 motor đã về 0° chưa
    return (labs(pos1) <= 5 && labs(pos2) <= 5 && labs(pos3) <= 5);
}

//void Servo_SetAngle(float angle)
//{
//    if(angle < 0)   angle = 0;
//    if(angle > 180) angle = 180;
//    uint32_t pulse = (uint32_t)(50 + (angle / 180.0f) * 200);
//    __HAL_TIM_SET_COMPARE(&htim1, TIM_CHANNEL_3, pulse);
//}

//void Hook_Control(uint8_t state)
//{
//     if(state == 1)
//        Servo_TIM9_SetAngle(HOOK_OPEN);
//    else
//        Servo_TIM9_SetAngle(HOOK_CLOSE);
//}
HAL_StatusTypeDef kp(uint8_t channel)
{
    if(channel > 7) return HAL_ERROR;
    uint8_t data = (uint8_t)(1 << channel);
    return HAL_I2C_Master_Transmit(&hi2c2, TCA9548A_ADDR, &data, 1, 20);
}

HAL_StatusTypeDef AS5600_ReadRawAngle(uint16_t *raw_angle)
{
    uint8_t reg = AS5600_RAW_ANGLE_REG;
    uint8_t buf[2];
    HAL_StatusTypeDef status;

    status = HAL_I2C_Master_Transmit(&hi2c2, AS5600_ADDR, &reg, 1, 20);
    if(status != HAL_OK) return status;

    status = HAL_I2C_Master_Receive(&hi2c2, AS5600_ADDR, buf, 2, 20);
    if(status != HAL_OK) return status;

    *raw_angle = (uint16_t)(((buf[0] << 8) | buf[1]) & 0x0FFF);
    return HAL_OK;
}

float AS5600_ReadAngleDeg(uint8_t mux_channel, float zero_offset, uint8_t invert, volatile uint16_t *out_raw, volatile uint8_t *out_status)
{
    uint16_t raw;
    HAL_StatusTypeDef status;

    status = kp(mux_channel);
    if(status != HAL_OK) {
        if(out_status) *out_status = (uint8_t)status;
        return -1.0f;
    }

    status = AS5600_ReadRawAngle(&raw);
    if(out_status) *out_status = (uint8_t)status;
    if(status != HAL_OK) return -1.0f;

    if(out_raw) *out_raw = raw;

    float deg = (float)raw * 360.0f / 4096.0f;
    if(invert) deg = 360.0f - deg;

    deg -= zero_offset;
    if(deg < 0)    deg += 360.0f;
    if(deg >= 360.0f) deg -= 360.0f;

    return deg;
}
Position3D_t Forward_Kinematics(float theta1_deg, float theta2_deg, float theta3_deg)
{
    Position3D_t pos;
    float t1 = theta1_deg * 3.14159f / 180.0f;
    float t2 = theta2_deg * 3.14159f / 180.0f;
    float t3 = theta3_deg * 3.14159f / 180.0f;
    float r  = L1 * cosf(t2) + L2 * cosf(t2 + t3);
    pos.x = r * cosf(t1);
    pos.y = r * sinf(t1);
    pos.z = L0 + L1 * sinf(t2) + L2 * sinf(t2 + t3);
    return pos;
}
void Motor_MoveToAngle(StepperMotor_t *motor, MotorState_t *state, volatile int32_t *pos, float target_angle)
{
    // Chuyển góc mục tiêu sang steps
    int32_t target_steps = (int32_t)(target_angle * STEPS_PER_REV / 360.0f);
    int32_t error = target_steps - *pos;

    // Đã đến đích → dừng
    if(labs(error) <= 2)
    {
        state->target_speed = 0;
        state->current_speed = 0;
        __HAL_TIM_SET_COMPARE(motor->htim, motor->channel, 0);
        return;
    }

    // Xác định chiều quay
    if(error > 0)
        Motor_SetDirection(motor, 0);
    else
        Motor_SetDirection(motor, 1);

    // Tốc độ tỉ lệ với khoảng cách còn lại (giảm tốc khi gần đích)
    int32_t speed;
    int32_t dist = labs(error);
    if(dist > 500)
        speed = state->max_speed;
    else
				speed = MIN_SPEED + (int32_t)((float)dist / 500.0f * (state->max_speed - MIN_SPEED));

    Motor_SetSpeedSmooth(motor, state, speed);

    // Đếm steps
    if(motor->direction == 0)
        (*pos)++;
    else
        (*pos)--;
}
void Go_Home(void)
{
     static uint8_t homing_active = 0;
    static uint32_t homing_start = 0;
    static uint32_t last_send_time = 0;

    // ← INIT LẦN ĐẦU
    if(!homing_active && home_requested)
    {
        homing_start = HAL_GetTick();
        homing_active = 1;
        last_send_time = 0;

        PID_Reset(&pid1);
        PID_Reset(&pid2);
        PID_Reset(&pid3);
        return;
    }

    if(!homing_active) return;

    // ===== TIMEOUT =====
    if(HAL_GetTick() - homing_start > HOMING_TIMEOUT_MS)
    {
        Motor_SetSpeedSmooth(&motor1, &state1, 0);
        Motor_SetSpeedSmooth(&motor2, &state2, 0);
        Motor_SetSpeedSmooth(&motor3, &state3, 0);
        HAL_GPIO_WritePin(GPIOD, GPIO_PIN_13, GPIO_PIN_SET);
        home_requested = 0;
        homing_active = 0;
        return;
    }

		// ===== Cập nhật uart_angle = home_angle =====

    // ===== ĐỌC GÓC THỰC TỪ ADC =====

    // ===== TÍNH SAI SỐ =====
    float err1 = home_angle1 - filtered_j1;
    float err2 = home_angle2 - filtered_j2;
    float err3 = home_angle3 - filtered_j3;

    // ===== KIỂM TRA ĐẠT HOME? =====
    if(fabsf(err1) <= 2.0f && fabsf(err2) <= 2.0f && fabsf(err3) <= 2.0f)
    {
        Motor_SetSpeedSmooth(&motor1, &state1, 0);
        Motor_SetSpeedSmooth(&motor2, &state2, 0);
        Motor_SetSpeedSmooth(&motor3, &state3, 0);
        home_requested = 0;
        control_enabled = 0;
        HAL_GPIO_WritePin(GPIOD, GPIO_PIN_12, GPIO_PIN_SET);
        home_done = 1;
				homing_active = 0;
        return;
    }

    // ===== ĐIỀU KHIỂN MOTOR 1 =====
    if(fabsf(err1) > 1.0f)
    {
        float pid_out1 = PID_Compute(&pid1, err1);
        uint8_t dir1 = pid_out1 > 0 ? 0 : 1;
        Motor_SetDirection(&motor1, dir1);
        int32_t spd1 = (int32_t)fabsf(pid_out1);
        if(spd1 > 20000) spd1 = 20000;
        if(spd1 < 500) spd1 = 500;
        Motor_SetSpeedSmooth(&motor1, &state1, spd1);
    }
    else
    {
        Motor_SetSpeedSmooth(&motor1, &state1, 0);
    }

    // ===== ĐIỀU KHIỂN MOTOR 2 =====
    if(fabsf(err2) > 1.0f)
    {
        float pid_out2 = PID_Compute(&pid2, err2);
        uint8_t dir2 = pid_out2 > 0 ? 1 : 0;
        Motor_SetDirection(&motor2, dir2);
        int32_t spd2 = (int32_t)fabsf(pid_out2);
        if(spd2 > 20000) spd2 = 20000;
        if(spd2 < 500) spd2 = 500;
        Motor_SetSpeedSmooth(&motor2, &state2, spd2);
    }
    else
    {
        Motor_SetSpeedSmooth(&motor2, &state2, 0);
    }

    // ===== ĐIỀU KHIỂN MOTOR 3 =====
    if(fabsf(err3) > 1.0f)
    {
        float pid_out3 = PID_Compute(&pid3, err3);
        uint8_t dir3 = pid_out3 > 0 ? 1 : 0;
        Motor_SetDirection(&motor3, dir3);
        int32_t spd3 = (int32_t)fabsf(pid_out3);
        if(spd3 > 5000) spd3 = 5000;
        if(spd3 < 200) spd3 = 200;
        Motor_SetSpeedSmooth(&motor3, &state3, spd3);
    }
    else
    {
        Motor_SetSpeedSmooth(&motor3, &state3, 0);
    }
}
/**
  * @brief  Khoi tao dong co
  * @param  motor: con tro den struct dong co
  */
void Motor_Init(StepperMotor_t *motor)
{
    HAL_GPIO_WritePin(motor->en_port, motor->en_pin, GPIO_PIN_SET);
    HAL_GPIO_WritePin(motor->dir_port, motor->dir_pin, GPIO_PIN_RESET);

    __HAL_TIM_SET_AUTORELOAD(motor->htim, 999);
    __HAL_TIM_SET_COMPARE(motor->htim, motor->channel, 0); // ← 500→0

    HAL_TIM_PWM_Start(motor->htim, motor->channel);

    if(motor->htim->Instance == TIM1)
        __HAL_TIM_MOE_ENABLE(motor->htim);  // ← sau Start ✅

    HAL_Delay(10);
    HAL_GPIO_WritePin(motor->en_port, motor->en_pin, GPIO_PIN_RESET);
}

/**
  * @brief  Dat toc do dong co
  * @param  motor: con tro den struct dong co
  * @param  speed: 0-4095 (tu ADC)
  */
void Motor_SetSpeed(StepperMotor_t *motor, uint16_t speed)
{
    motor->current_speed = speed;

    // Toc do qua thap -> Dung dong co
    if(speed < 100)
    {
        __HAL_TIM_SET_COMPARE(motor->htim, motor->channel, 0);
        return;
    }

    // Chuyen doi ADC (0-4095) sang toc do buoc/giay
    // Pham vi: 50 -> 8000 steps/s
    uint32_t steps_per_sec = 50 + ((uint32_t)speed * 7950) / 4095;

    // Tinh ARR:
    // Timer clock = 1MHz (sau Prescaler)
    // Tan so PWM = steps_per_sec
    // ARR = 1,000,000 / (2 * steps_per_sec) - 1
    uint32_t arr = (1000000UL /  steps_per_sec) - 1;

    // Gioi han ARR trong pham vi hop le
    if(arr > 65535) arr = 65535;
    if(arr < 50)    arr = 50;

    // Cap nhat Timer
    __HAL_TIM_SET_AUTORELOAD(motor->htim, arr);
    __HAL_TIM_SET_COMPARE(motor->htim, motor->channel, arr / 2); // 50% duty cycle
}

/**
  * @brief  Dat huong quay dong co
  * @param  motor: con tro den struct dong co
  * @param  dir: 0 = thuan, 1 = nguoc
  */
void Motor_SetDirection(StepperMotor_t *motor, uint8_t dir)
{
    motor->direction = dir;
    HAL_GPIO_WritePin(
        motor->dir_port,
        motor->dir_pin,
        dir ? GPIO_PIN_SET : GPIO_PIN_RESET
    );
}

/**
  * @brief  Bat dong co (EN = LOW)
  * @param  motor: con tro den struct dong co
  */
void Motor_Enable(StepperMotor_t *motor)
{
    HAL_GPIO_WritePin(motor->en_port, motor->en_pin, GPIO_PIN_RESET);
}

/**
  * @brief  Tat dong co (EN = HIGH)
  * @param  motor: con tro den struct dong co
  */
void Motor_Disable(StepperMotor_t *motor)
{
    HAL_GPIO_WritePin(motor->en_port, motor->en_pin, GPIO_PIN_SET);
}

void kalmanFilter (KalmanParam* pKalman, float measure) {
  float kalman_gain = pKalman->kalmanUncertainty_exFlex / (pKalman->kalmanUncertainty_exFlex + MEAS_UNCERTAINTY);
	pKalman->kalmanEstimation = (pKalman->kalmanExtrapolate) + kalman_gain * (measure - pKalman->kalmanExtrapolate);
	pKalman->kalmanUncertainty_currFlex = (1 - kalman_gain) * (pKalman->kalmanUncertainty_exFlex);
	pKalman->kalmanUncertainty_exFlex = pKalman->kalmanUncertainty_currFlex + PROCESS_NOISE;
	pKalman->kalmanExtrapolate = pKalman->kalmanEstimation;
}
/**
  * @brief  Xu ly du lieu ADC va cap nhat toc do 3 motor
  *         Goi trong vong lap chinh moi 10ms
  */

void Slave_Feedback_Read(void)
{
	float a1 = AS5600_ReadAngleDeg(MUX_CH_J1, as5600_zero_offset1, as5600_invert1, &debug_as5600_raw1, &debug_as5600_status1);
	float a2 = AS5600_ReadAngleDeg(MUX_CH_J2, as5600_zero_offset2, as5600_invert2, &debug_as5600_raw2, &debug_as5600_status2);
	float a3 = AS5600_ReadAngleDeg(MUX_CH_J3, as5600_zero_offset3, as5600_invert3, &debug_as5600_raw3, &debug_as5600_status3);

	    if(a1 >= 0) watch_joint1_real = a1;
	    if(a2 >= 0) watch_joint2_real = a2;
	    if(a3 >= 0) watch_joint3_real = a3;
	    // LUÔN gửi FB về Arduino qua USART1

    // LUÔN gửi FB về Arduino qua USART1
    char buf[64];
    int len = snprintf(buf, sizeof(buf),
        "FB:%.1f,%.1f,%.1f\n",
        watch_joint1_real, watch_joint2_real, watch_joint3_real);
    HAL_UART_Transmit(&huart2, (uint8_t*)buf, len, 30);

    // Log về PC

}
void Motor_SetSpeedSmooth(StepperMotor_t *motor, MotorState_t *state, int32_t target_steps_per_sec)
{
    state->target_speed = target_steps_per_sec;

    if(state->current_speed < state->target_speed)
    {
						state->current_speed += state->accel_step;        if(state->current_speed > state->target_speed)
            state->current_speed = state->target_speed;
    }
    else if(state->current_speed > state->target_speed)
    {
        state->current_speed -= state->accel_step;
        if(state->current_speed < state->target_speed)
            state->current_speed = state->target_speed;
    }

    if(state->current_speed < MIN_SPEED || state->target_speed == 0)
    {
				state->current_speed = 0;
        __HAL_TIM_SET_COMPARE(motor->htim, motor->channel, 0);
        return;
    }

    uint32_t arr = (1000000UL / state->current_speed) - 1;
    if(arr > 65535) arr = 65535;
    if(arr < 50)    arr = 50;

    __HAL_TIM_SET_AUTORELOAD(motor->htim, arr);
    __HAL_TIM_SET_COMPARE(motor->htim, motor->channel, arr / 2);
}
void Process_ADC_Data(void){

	  // ===== Cờ: chỉ chạy sau khi nhận lệnh đầu tiên =====
    static uint8_t first_cmd = 0;
		if(uart_mode == 0)
    {
        first_cmd = 0;
        return;
    }
    if(uart_data_ready) {
        uart_data_ready = 0;
        if(!first_cmd) {
            // Lần đầu: init target_smooth = góc thực để không nhảy giật
            target_smooth1 = watch_joint1_real;
            target_smooth2 = watch_joint2_real;
            target_smooth3 = watch_joint3_real;
            first_cmd = 1;
        }
    }
    if(!first_cmd) return;

    // Đọc góc thực (low-pass filter — giữ nguyên)
   filtered_j1 = filtered_j1 * 0.8f + watch_joint1_real * 0.2f;
   filtered_j2 = filtered_j2 * 0.8f + watch_joint2_real * 0.2f;
   filtered_j3 = filtered_j3 * 0.8f + watch_joint3_real * 0.2f;
//     kalmanFilter(&angle1, watch_joint1_real);
//		kalmanFilter(&angle2, watch_joint2_real);
//		kalmanFilter(&angle3, watch_joint3_real);
//		float filtered_j1 = angle1.kalmanEstimation;
//    float filtered_j2 = angle2.kalmanEstimation;
//    float filtered_j3 = angle3.kalmanEstimation;

    // ===== MOTION PROFILING: target_smooth tiến dần đến uart_angle =====
    float step1 = VEL_PROFILE_J1 * LOOP_DT;  // = 3°/chu kỳ
    float step2 = VEL_PROFILE_J2 * LOOP_DT;  // = 3°/chu kỳ
    float step3 = VEL_PROFILE_J3 * LOOP_DT;  // = 1.5°/chu kỳ

    // J1
    if(target_smooth1 < uart_angle1 - step1)
        target_smooth1 += step1;
    else if(target_smooth1 > uart_angle1 + step1)
        target_smooth1 -= step1;
    else
        target_smooth1 = uart_angle1;  // đủ gần → snap đến đích

    // J2
    if(target_smooth2 < uart_angle2 - step2)
        target_smooth2 += step2;
    else if(target_smooth2 > uart_angle2 + step2)
        target_smooth2 -= step2;
    else
        target_smooth2 = uart_angle2;

    // J3
    if(target_smooth3 < uart_angle3 - step3)
        target_smooth3 += step3;
    else if(target_smooth3 > uart_angle3 + step3)
        target_smooth3 -= step3;
    else
        target_smooth3 = uart_angle3;

    // ===== Tính sai số — DÙNG target_smooth THAY VÌ uart_angle =====
    float err1 = target_smooth1 - filtered_j1;   // ← thay uart_angle1
    float err2 = target_smooth2 - filtered_j2;   // ← thay uart_angle2
    float err3 = target_smooth3 - filtered_j3;   // ← thay uart_angle3

    // ===== Debug =====
    debug_err1 = (int32_t)err1;
    debug_err2 = (int32_t)err2;
    debug_err3 = (int32_t)err3;

int32_t speed_cap1 = fabsf(err1) > 10.0f ? 90000
                   : fabsf(err1) >  5.0f ? 40000
                   :                       15000;
    // ===== JOINT 1 — PID =====
    // Ngưỡng dead-band 0.5°: tránh motor rung khi đã đủ gần
//    if(fabsf(err1) > 1.0f)
//    {
//        float pid_out1 = PID_Compute(&pid1, err1);
//        // Dấu output quyết định chiều quay
//        uint8_t dir1 = pid_out1 > 0 ? 0 : 1;
//        Motor_SetDirection(&motor1, dir1);
//        debug_dir1 = dir1;
//        // Lấy trị tuyệt đối làm tốc độ
//        int32_t spd1 = (int32_t)fabsf(pid_out1);
//				if     (fabsf(err1) > 5.0f) spd1 = spd1;            // xa: full speed
//    else if(fabsf(err1) > 2.0f) spd1 = spd1 * 4 / 10;   // trung: 40%
//    else                         spd1 = spd1 * 15 / 100; // gần: 15% — bò vào đích
//
//				if(spd1 > speed_cap1) spd1 = speed_cap1;  // ← THÊM clamp
//				if(spd1 < 0) spd1 = 0;
//        Motor_SetSpeedSmooth(&motor1, &state1, spd1);
//    }
//    else
//    {
//        // Đến đích → dừng và reset PID
//        // Reset quan trọng: xóa integral và prev_error
//        // để lần di chuyển tiếp theo bắt đầu sạch
//        PID_Reset(&pid1);
//        Motor_SetSpeedSmooth(&motor1, &state1, 0);
//        debug_err1 = 0;
//    }

    	// ===== JOINT 1 — TEST KHÔNG PID =====
    	if(fabsf(err1) > 1.0f)
    	{
    	    uint8_t dir1 = err1 > 0 ? 1 : 0;

    	    Motor_SetDirection(&motor1, dir1);
    	    debug_dir1 = dir1;

    	    int32_t spd1 = 1000;

    	    Motor_SetSpeedSmooth(&motor1, &state1, spd1);
    	}
    	else
    	{
    	    Motor_SetSpeedSmooth(&motor1, &state1, 0);
    	    debug_err1 = 0;
    	}
int32_t speed_cap2 = fabsf(err2) > 10.0f ? 90000
                   : fabsf(err2) >  5.0f ? 40000
                   :                       15000;
    // ===== JOINT 2 — PID =====
//    if(fabsf(err2) > 1.0f)
//    {
//        float pid_out2 = PID_Compute(&pid2, err2);
//        uint8_t dir2 = pid_out2 > 0 ? 1 : 0;  // J2 đảo chiều so với J1
//        Motor_SetDirection(&motor2, dir2);
//        debug_dir2 = dir2;
//        int32_t spd2 = (int32_t)fabsf(pid_out2);
//				if     (fabsf(err2) > 20.0f) spd2 = spd2;            // xa: full speed
//    else if(fabsf(err2) > 10.0f) spd2 = spd2 * 1 / 10;   // trung: 40%
//    else                         spd2 = spd2 * 5 / 100; // gần: 15%
//				if(spd2 > speed_cap2) spd2 = speed_cap2;
//				if(spd2 < 0) spd2 = 0;
//        Motor_SetSpeedSmooth(&motor2, &state2, spd2);
//    }
//    else
//    {
//       // PID_Reset(&pid2);
//        Motor_SetSpeedSmooth(&motor2, &state2, 0);
//        debug_err2 = 0;
//    }
// ===== JOINT 2 — TEST KHÔNG PID =====
if(fabsf(err2) > 1.0f)
{
    uint8_t dir2 = err2 > 0 ? 0 : 1;

    Motor_SetDirection(&motor2, dir2);
    debug_dir2 = dir2;

    int32_t spd2 = 1000;

    Motor_SetSpeedSmooth(&motor2, &state2, spd2);
}
else
{
    Motor_SetSpeedSmooth(&motor2, &state2, 0);
    debug_err2 = 0;
}

    // ===== JOINT 3 — PID =====
    if(fabsf(err3) > 2.0f)
    {
        float pid_out3 = PID_Compute(&pid3, err3);
        uint8_t dir3 = pid_out3 > 0 ? 1 : 0;
        Motor_SetDirection(&motor3, dir3);
        debug_dir3 = dir3;
        int32_t spd3 = (int32_t)fabsf(pid_out3);
				if     (fabsf(err3) > 20.0f) spd3 = spd3;            // xa: full
    else if(fabsf(err3) >  15.0f) spd3 = spd3 * 3 / 10;   // trung: 30%
    else                          spd3 = spd3 * 5 / 100;
				if(spd3 > state3.max_speed) spd3 = state3.max_speed;  // ← THÊM clamp
				if(spd3 < 0) spd3 = 0;
        Motor_SetSpeedSmooth(&motor3, &state3, spd3);
    }
    else
    {
        PID_Reset(&pid3);
        Motor_SetSpeedSmooth(&motor3, &state3, 0);
        debug_err3 = 0;
    }

    // Cập nhật angle_current
    angle_current1 = filtered_j1;
    angle_current2 = filtered_j2;
    angle_current3 = filtered_j3;

    // Forward Kinematics
    tool_pos = Forward_Kinematics(angle_current1, angle_current2, angle_current3);
}

/* USER CODE END 4 */

void Error_Handler(void)
{
  /* USER CODE BEGIN Error_Handler_Debug */
  /* User can add his own implementation to report the HAL error return state */

    // B?t LED d? PD14 (c� s?n tr�n Discovery)
    __HAL_RCC_GPIOD_CLK_ENABLE();
    GPIOD->MODER |= (1 << 28);
    GPIOD->ODR   |= (1 << 14);
  while (1)
  {
  }
  /* USER CODE END Error_Handler_Debug */
}
